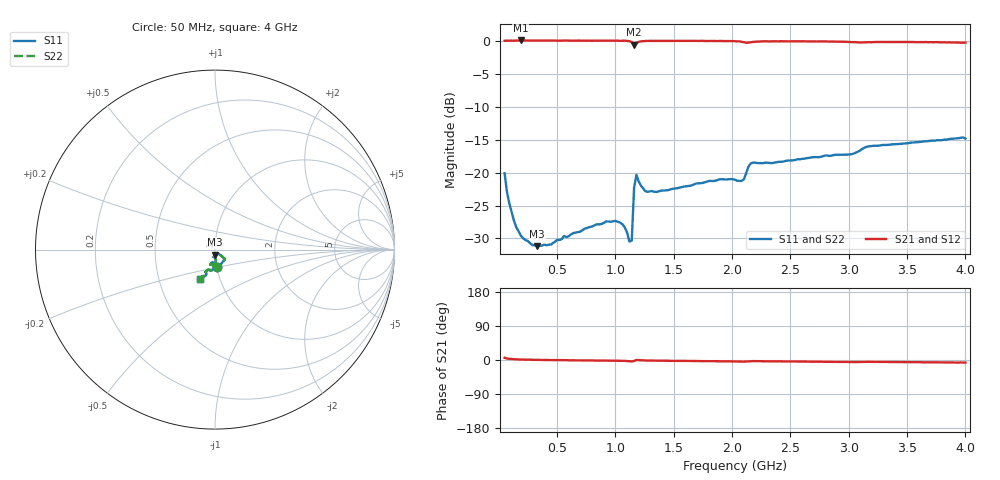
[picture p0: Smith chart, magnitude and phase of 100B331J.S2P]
!  American Technical Ceramics  Date:  3/13/98
!  One Norden Lane
!  Huntington Station,  NY.  11746-2102
!  Tel:  (516) 547-5700  Fax:  (516) 547-5748
!  Part Number  100b331j
!  Description: Porcelain, High Q, Low ESR
!  Application: Bypass, Coupling, Timing, Feedback
!  Tuning, Impedance Match, Blocking
# GHZ S DB R 50
! Freq  |S11|  S11 Ph  |S21|  S21 Ph  |S12|  S12 Ph  |S22|  S22 Ph
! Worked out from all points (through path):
!   201 points, 50 MHz to 4 GHz, reference 50 ohm
!   highest |S21| = 0.05 dB at 190 MHz (marker M1); lowest = -0.6 dB at 1.16 GHz (marker M2)
!   group delay of S21, straight-line fit = 5.33 ps
!   lowest |S11| = -31.2 dB at 330 MHz (marker M3), VSWR 1.06, Z = 49.8 - j2.76 ohm
!   |S11| at or under -10 dB: start of sweep to end of sweep
!   |S22| runs from -31.2 to -14.7 dB; largest |S21 - S12| = 0
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0.05  -20.10 -82.4  0.00 5.8  0.00 5.8  -20.10 -82.4
0.07  -22.92 -86.9  0.01 4.0  0.01 4.0  -22.92 -86.9
0.09  -24.65 -86.3  0.01 3.0  0.01 3.0  -24.65 -86.3
0.15  -28.30 -91.1  0.04 1.9  0.04 1.9  -28.30 -91.1
0.19  -29.59 -90.1  0.05 1.3  0.05 1.3  -29.59 -90.1
0.33  -31.17 -91.6  0.04 0.3  0.04 0.3  -31.17 -91.6
0.72  -28.69 -95.7  0.02 -1.1  0.02 -1.1  -28.69 -95.7
1  -27.33 -99.6  0.01 -2.0  0.01 -2.0  -27.33 -99.6
1.06  -27.84 -99.7  0.00 -2.5  0.00 -2.5  -27.84 -99.7
1.12  -30.48 -85.3  -0.06 -3.2  -0.06 -3.2  -30.48 -85.3
1.14  -30.32 -49.1  -0.20 -3.8  -0.20 -3.8  -30.32 -49.1
1.16  -22.29 -43.0  -0.58 -2.7  -0.58 -2.7  -22.29 -43.0
1.18  -20.35 -76.5  -0.35 0.0  -0.35 0.0  -20.35 -76.5
1.25  -22.72 -99.0  -0.03 -1.4  -0.03 -1.4  -22.72 -99.0
1.37  -22.86 -101.8  -0.01 -1.9  -0.01 -1.9  -22.86 -101.8
2.03  -21.11 -106.7  -0.07 -3.8  -0.07 -3.8  -21.11 -106.7
2.1  -21.05 -96.6  -0.21 -4.3  -0.21 -4.3  -21.05 -96.6
2.14  -19.11 -94.3  -0.28 -3.2  -0.28 -3.2  -19.11 -94.3
2.18  -18.48 -102.3  -0.18 -2.9  -0.18 -2.9  -18.48 -102.3
2.7  -17.66 -112.2  -0.09 -4.4  -0.09 -4.4  -17.66 -112.2
3.35  -15.78 -114.5  -0.18 -5.2  -0.18 -5.2  -15.78 -114.5
4  -14.84 -116.6  -0.27 -6.7  -0.27 -6.7  -14.84 -116.6
